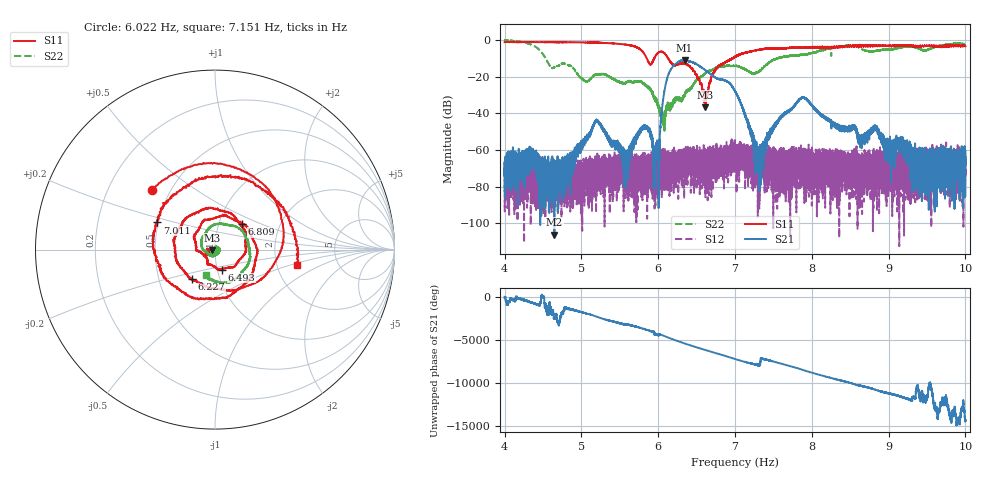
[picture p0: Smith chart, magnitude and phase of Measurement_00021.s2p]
!Created with skrf (http://scikit-rf.org).
# Hz S RI R 50.0
!freq ReS11 ImS11 ReS21 ImS21 ReS12 ImS12 ReS22 ImS22
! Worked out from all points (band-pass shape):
!   14001 points, 4 Hz to 10 Hz, reference 50 ohm
!   highest |S21| = -10.83 dB at 6.344 Hz (marker M1); lowest = -106.1 dB at 4.648 Hz (marker M2)
!   |S21| within 3 dB of the highest: 6.202391 Hz to 6.202563 Hz (172.3 uHz wide, 0.00278 % of centre); 6.204 Hz to 6.527 Hz (323.5 mHz wide, 5.08 % of centre) (the widest 2 of 3)
!   lowest |S11| = -36.7 dB at 6.612 Hz (marker M3), VSWR 1.03, Z = 48.6 - j0.211 ohm
!   |S11| at or under -10 dB: 5.852 Hz to 5.947 Hz (94.78 mHz wide, 1.61 % of centre); 5.94848 Hz to 5.948754 Hz (274.2 uHz wide, 0.00461 % of centre); 6.131 Hz to 6.962 Hz (830.9 mHz wide, 12.7 % of centre) (the widest 3 of 6)
!   |S22| runs from -49.5 to -0.2 dB; largest |S21 - S12| = 0.29
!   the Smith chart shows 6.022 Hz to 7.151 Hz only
!   S11 on the Smith chart (normalised r, x): 6.022 Hz: 0.40, +0.35; 6.227 Hz: 0.73, -0.25; 6.493 Hz: 1.05, -0.24; 6.809 Hz: 1.28, +0.39; 7.011 Hz: 0.49, +0.17; 7.151 Hz: 2.58, -0.56
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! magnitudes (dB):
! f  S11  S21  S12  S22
! 4 Hz  -1.0  -70.6  -70.5  -0.3
! 4.648 Hz  -1.2  -106.1  -68.0  -14.9
! 5 Hz  -1.3  -56.8  -76.5  -20.8
! 5.2 Hz  -1.4  -43.8  -66.1  -18.8
! 5.574 Hz  -2.5  -80.6  -74.0  -23.3
! 5.812 Hz  -7.1  -47.3  -69.5  -24.0
! 6 Hz  -6.9  -58.3  -64.4  -35.9
! 6.022 Hz  -6.3  -50.5  -74.8  -39.8
! 6.101 Hz  -8.1  -23.6  -67.2  -37.7
! 6.227 Hz  -13.6  -12.9  -73.5  -32.4
! 6.344 Hz  -12.6  -10.8  -65.4  -30.0
! 6.493 Hz  -18.6  -13.0  -61.7  -22.4
! 6.612 Hz  -36.7  -16.4  -65.5  -18.2
! 6.809 Hz  -13.7  -21.4  -58.8  -14.6
! 7 Hz  -9.2  -27.9  -59.3  -14.1
! 7.011 Hz  -9.0  -28.6  -65.9  -14.2
! 7.151 Hz  -6.7  -43.0  -68.9  -16.5
! 7.317 Hz  -5.2  -63.4  -64.9  -16.9
! 7.612 Hz  -4.6  -41.5  -70.6  -9.3
! 8 Hz  -4.1  -35.5  -90.4  -6.9
! 9 Hz  -3.2  -59.1  -68.0  -5.1
! 10 Hz  -3.4  -63.8  -63.9  -3.1
